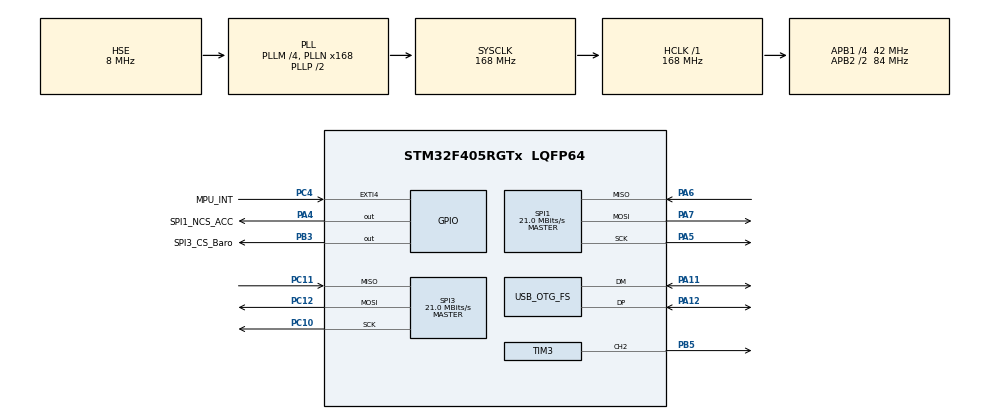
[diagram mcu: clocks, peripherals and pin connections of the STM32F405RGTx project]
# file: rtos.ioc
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Dma.Request0=SPI1_RX
Dma.Request1=SPI1_TX
Dma.SPI1_RX.0.Direction=DMA_PERIPH_TO_MEMORY
Dma.SPI1_RX.0.FIFOMode=DMA_FIFOMODE_DISABLE
Dma.SPI1_RX.0.Instance=DMA2_Stream0
Dma.SPI1_RX.0.MemDataAlignment=DMA_MDATAALIGN_BYTE
Dma.SPI1_RX.0.MemInc=DMA_MINC_ENABLE
Dma.SPI1_RX.0.Mode=DMA_NORMAL
Dma.SPI1_RX.0.PeriphDataAlignment=DMA_PDATAALIGN_BYTE
Dma.SPI1_RX.0.PeriphInc=DMA_PINC_DISABLE
Dma.SPI1_RX.0.Priority=DMA_PRIORITY_MEDIUM
Dma.SPI1_TX.1.Direction=DMA_MEMORY_TO_PERIPH
Dma.SPI1_TX.1.FIFOMode=DMA_FIFOMODE_DISABLE
Dma.SPI1_TX.1.Instance=DMA2_Stream3
Dma.SPI1_TX.1.MemDataAlignment=DMA_MDATAALIGN_BYTE
Dma.SPI1_TX.1.MemInc=DMA_MINC_ENABLE
Dma.SPI1_TX.1.Mode=DMA_NORMAL
Dma.SPI1_TX.1.PeriphDataAlignment=DMA_PDATAALIGN_BYTE
Dma.SPI1_TX.1.PeriphInc=DMA_PINC_DISABLE
Dma.SPI1_TX.1.Priority=DMA_PRIORITY_MEDIUM
Mcu.Family=STM32F4
Mcu.Name=STM32F405RGTx
Mcu.Package=LQFP64
NVIC.DMA2_Stream0_IRQn=true\:0\:0\:false\:false\:true\:false\:true
NVIC.DMA2_Stream3_IRQn=true\:0\:0\:false\:false\:true\:false\:true
NVIC.EXTI4_IRQn=true\:0\:0\:false\:false\:true\:true\:true
NVIC.OTG_FS_IRQn=true\:0\:0\:false\:false\:true\:false\:true
NVIC.PriorityGroup=NVIC_PRIORITYGROUP_4
PA11.Mode=Device_Only
PA11.Signal=USB_OTG_FS_DM
PA12.Mode=Device_Only
PA12.Signal=USB_OTG_FS_DP
PA13.Mode=Serial_Wire
PA13.Signal=SYS_JTMS-SWDIO
PA14.Mode=Serial_Wire
PA14.Signal=SYS_JTCK-SWCLK
PA4.GPIO_Label=SPI1_NCS_ACC
PA4.Signal=GPIO_Output
PA5.Mode=Full_Duplex_Master
PA5.Signal=SPI1_SCK
PA6.Mode=Full_Duplex_Master
PA6.Signal=SPI1_MISO
PA7.Mode=Full_Duplex_Master
PA7.Signal=SPI1_MOSI
PB3.GPIO_Label=SPI3_CS_Baro
PB3.Signal=GPIO_Output
PB5.Signal=S_TIM3_CH2
PC10.Mode=Full_Duplex_Master
PC10.Signal=SPI3_SCK
PC11.Mode=Full_Duplex_Master
PC11.Signal=SPI3_MISO
PC12.Mode=Full_Duplex_Master
PC12.Signal=SPI3_MOSI
PC4.GPIO_Label=MPU_INT
PC4.Signal=GPXTI4
PH0-OSC_IN.Mode=HSE-External-Oscillator
PH0-OSC_IN.Signal=RCC_OSC_IN
PH1-OSC_OUT.Mode=HSE-External-Oscillator
PH1-OSC_OUT.Signal=RCC_OSC_OUT
ProjectManager.HeapSize=0x200
ProjectManager.StackSize=0x400
ProjectManager.TargetToolchain=STM32CubeIDE
RCC.48MHZClocksFreq_Value=48000000
RCC.AHBFreq_Value=168000000
RCC.APB1CLKDivider=RCC_HCLK_DIV4
RCC.APB1Freq_Value=42000000
RCC.APB1TimFreq_Value=84000000
RCC.APB2CLKDivider=RCC_HCLK_DIV2
RCC.APB2Freq_Value=84000000
RCC.APB2TimFreq_Value=168000000
RCC.CortexFreq_Value=168000000
RCC.HCLKFreq_Value=168000000
RCC.HSE_VALUE=8000000
RCC.HSI_VALUE=16000000
RCC.LSE_VALUE=32768
RCC.PLLM=4
RCC.PLLN=168
RCC.PLLQ=7
RCC.SYSCLKFreq_VALUE=168000000
RCC.SYSCLKSource=RCC_SYSCLKSOURCE_PLLCLK
RCC.VCOOutputFreq_Value=336000000
SH.S_TIM3_CH2.0=TIM3_CH2,PWM Generation2 CH2
SPI1.BaudRatePrescaler=SPI_BAUDRATEPRESCALER_4
SPI1.CalculateBaudRate=21.0 MBits/s
SPI1.Direction=SPI_DIRECTION_2LINES
SPI1.Mode=SPI_MODE_MASTER
SPI1.VirtualType=VM_MASTER
SPI3.BaudRatePrescaler=SPI_BAUDRATEPRESCALER_2
SPI3.CalculateBaudRate=21.0 MBits/s
SPI3.Direction=SPI_DIRECTION_2LINES
SPI3.Mode=SPI_MODE_MASTER
SPI3.VirtualType=VM_MASTER
TIM3.Channel-PWM\ Generation2\ CH2=TIM_CHANNEL_2
TIM3.Period=100-1
TIM3.Prescaler=8400-1
USB_DEVICE.CLASS_NAME_FS=CDC
USB_DEVICE.VirtualMode-CDC_FS=Cdc
USB_DEVICE.VirtualModeFS=Cdc_FS
USB_OTG_FS.VirtualMode=Device_Only
VP_TIM3_VS_ClockSourceINT.Mode=Internal
VP_USB_DEVICE_VS_USB_DEVICE_CDC_FS.Mode=CDC_FS
board=custom

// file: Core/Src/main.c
/* USER CODE BEGIN Header */
/**
  ******************************************************************************
  * @file           : main.c
  * @brief          : Main program body
  ******************************************************************************
  * @attention
  *
  * <h2><center>&copy; Copyright (c) 2020 STMicroelectronics.
  * All rights reserved.</center></h2>
  *
  * This software component is licensed by ST under BSD 3-Clause license,
  * the "License"; You may not use this file except in compliance with the
  * License. You may obtain a copy of the License at:
  *                        opensource.org/licenses/BSD-3-Clause
  *
  ******************************************************************************
  */
/* USER CODE END Header */
#include "main.h"
#include "usb_device.h"

/* USER CODE BEGIN Includes */
#include "usbd_cdc_if.h"
#include "MPU6000.h"
/* USER CODE END Includes */

/* USER CODE BEGIN PM */
MPU6000 imu;
/* USER CODE END PM */

SPI_HandleTypeDef hspi1;
SPI_HandleTypeDef hspi3;
DMA_HandleTypeDef hdma_spi1_rx;
DMA_HandleTypeDef hdma_spi1_tx;

TIM_HandleTypeDef htim3;

void SystemClock_Config(void);
static void MX_GPIO_Init(void);
static void MX_DMA_Init(void);
static void MX_TIM3_Init(void);
static void MX_SPI1_Init(void);
static void MX_SPI3_Init(void);

/* USER CODE BEGIN 0 */
void HAL_GPIO_EXTI_Callback(uint16_t GPIO_Pin) {

	if (GPIO_Pin == MPU_INT_Pin) {

		MPU6000_ReadDataDMA(&imu);

	}

}

void HAL_SPI_TxRxCpltCallback(SPI_HandleTypeDef *hspi) {

	if (hspi->Instance == SPI1) {

		if (imu.readingAcc) {

			MPU6000_ReadDataDMA_Complete(&imu);
		}

	}

}
/* USER CODE END 0 */

int main(void)
{

  /* MCU Configuration--------------------------------------------------------*/

  /* Reset of all peripherals, Initializes the Flash interface and the Systick. */
  HAL_Init();

  /* Configure the system clock */
  SystemClock_Config();

  /* Initialize all configured peripherals */
  MX_GPIO_Init();
  MX_DMA_Init();
  MX_USB_DEVICE_Init();
  MX_TIM3_Init();
  MX_SPI1_Init();
  MX_SPI3_Init();
  /* USER CODE BEGIN 2 */
  MPU6000_Init(&imu, &hspi1, GPIOA, SPI1_NCS_ACC_Pin);

  /* USER CODE END 2 */

  /* Infinite loop */
  /* USER CODE BEGIN WHILE */
  char TxBuf[80];

  HAL_TIM_PWM_Start(&htim3, TIM_CHANNEL_2);
  uint8_t intensity = 0;

  while (1)
  {
    /* USER CODE END WHILE */

    /* USER CODE BEGIN 3 */

	htim3.Instance->CCR2 = 100 - intensity;

	intensity += 5;

	if(intensity > 100)
	{
		intensity = 0;
	}

	//MPU6000_ReadAccelerometer(&imu);
	//MPU6000_ReadGyroscope(&imu);
	//MPU6000_ReadTemperature(&imu);

	sprintf(TxBuf, "%.2f,%.2f,%.2f,%.2f,%.2f,%.2f,%.2f\n", imu.acc_mps2[0],imu.acc_mps2[1],imu.acc_mps2[2],imu.gyr_rps[0],imu.gyr_rps[1],imu.gyr_rps[2],imu.imu_temp);
	CDC_Transmit_FS((uint8_t *) TxBuf, strlen(TxBuf));

	HAL_Delay(100);
  }
  /* USER CODE END 3 */
}

void SystemClock_Config(void)
{
  RCC_OscInitTypeDef RCC_OscInitStruct = {0};
  RCC_ClkInitTypeDef RCC_ClkInitStruct = {0};

  /** Configure the main internal regulator output voltage
  */
  __HAL_RCC_PWR_CLK_ENABLE();
  __HAL_PWR_VOLTAGESCALING_CONFIG(PWR_REGULATOR_VOLTAGE_SCALE1);
  /** Initializes the RCC Oscillators according to the specified parameters
  * in the RCC_OscInitTypeDef structure.
  */
  RCC_OscInitStruct.OscillatorType = RCC_OSCILLATORTYPE_HSE;
  RCC_OscInitStruct.HSEState = RCC_HSE_ON;
  RCC_OscInitStruct.PLL.PLLState = RCC_PLL_ON;
  RCC_OscInitStruct.PLL.PLLSource = RCC_PLLSOURCE_HSE;
  RCC_OscInitStruct.PLL.PLLM = 4;
  RCC_OscInitStruct.PLL.PLLN = 168;
  RCC_OscInitStruct.PLL.PLLP = RCC_PLLP_DIV2;
  RCC_OscInitStruct.PLL.PLLQ = 7;
  if (HAL_RCC_OscConfig(&RCC_OscInitStruct) != HAL_OK)
  {
    Error_Handler();
  }
  /** Initializes the CPU, AHB and APB buses clocks
  */
  RCC_ClkInitStruct.ClockType = RCC_CLOCKTYPE_HCLK|RCC_CLOCKTYPE_SYSCLK
                              |RCC_CLOCKTYPE_PCLK1|RCC_CLOCKTYPE_PCLK2;
  RCC_ClkInitStruct.SYSCLKSource = RCC_SYSCLKSOURCE_PLLCLK;
  RCC_ClkInitStruct.AHBCLKDivider = RCC_SYSCLK_DIV1;
  RCC_ClkInitStruct.APB1CLKDivider = RCC_HCLK_DIV4;
  RCC_ClkInitStruct.APB2CLKDivider = RCC_HCLK_DIV2;

  if (HAL_RCC_ClockConfig(&RCC_ClkInitStruct, FLASH_LATENCY_5) != HAL_OK)
  {
    Error_Handler();
  }
}

static void MX_SPI1_Init(void)
{

  /* SPI1 parameter configuration*/
  hspi1.Instance = SPI1;
  hspi1.Init.Mode = SPI_MODE_MASTER;
  hspi1.Init.Direction = SPI_DIRECTION_2LINES;
  hspi1.Init.DataSize = SPI_DATASIZE_8BIT;
  hspi1.Init.CLKPolarity = SPI_POLARITY_LOW;
  hspi1.Init.CLKPhase = SPI_PHASE_1EDGE;
  hspi1.Init.NSS = SPI_NSS_SOFT;
  hspi1.Init.BaudRatePrescaler = SPI_BAUDRATEPRESCALER_4;
  hspi1.Init.FirstBit = SPI_FIRSTBIT_MSB;
  hspi1.Init.TIMode = SPI_TIMODE_DISABLE;
  hspi1.Init.CRCCalculation = SPI_CRCCALCULATION_DISABLE;
  hspi1.Init.CRCPolynomial = 10;
  if (HAL_SPI_Init(&hspi1) != HAL_OK)
  {
    Error_Handler();
  }

}

static void MX_SPI3_Init(void)
{

  /* SPI3 parameter configuration*/
  hspi3.Instance = SPI3;
  hspi3.Init.Mode = SPI_MODE_MASTER;
  hspi3.Init.Direction = SPI_DIRECTION_2LINES;
  hspi3.Init.DataSize = SPI_DATASIZE_8BIT;
  hspi3.Init.CLKPolarity = SPI_POLARITY_LOW;
  hspi3.Init.CLKPhase = SPI_PHASE_1EDGE;
  hspi3.Init.NSS = SPI_NSS_SOFT;
  hspi3.Init.BaudRatePrescaler = SPI_BAUDRATEPRESCALER_2;
  hspi3.Init.FirstBit = SPI_FIRSTBIT_MSB;
  hspi3.Init.TIMode = SPI_TIMODE_DISABLE;
  hspi3.Init.CRCCalculation = SPI_CRCCALCULATION_DISABLE;
  hspi3.Init.CRCPolynomial = 10;
  if (HAL_SPI_Init(&hspi3) != HAL_OK)
  {
    Error_Handler();
  }

}

static void MX_TIM3_Init(void)
{

  TIM_ClockConfigTypeDef sClockSourceConfig = {0};
  TIM_MasterConfigTypeDef sMasterConfig = {0};
  TIM_OC_InitTypeDef sConfigOC = {0};

  htim3.Instance = TIM3;
  htim3.Init.Prescaler = 8400-1;
  htim3.Init.CounterMode = TIM_COUNTERMODE_UP;
  htim3.Init.Period = 100-1;
  htim3.Init.ClockDivision = TIM_CLOCKDIVISION_DIV1;
  htim3.Init.AutoReloadPreload = TIM_AUTORELOAD_PRELOAD_DISABLE;
  if (HAL_TIM_Base_Init(&htim3) != HAL_OK)
  {
    Error_Handler();
  }
  sClockSourceConfig.ClockSource = TIM_CLOCKSOURCE_INTERNAL;
  if (HAL_TIM_ConfigClockSource(&htim3, &sClockSourceConfig) != HAL_OK)
  {
    Error_Handler();
  }
  if (HAL_TIM_PWM_Init(&htim3) != HAL_OK)
  {
    Error_Handler();
  }
  sMasterConfig.MasterOutputTrigger = TIM_TRGO_RESET;
  sMasterConfig.MasterSlaveMode = TIM_MASTERSLAVEMODE_DISABLE;
  if (HAL_TIMEx_MasterConfigSynchronization(&htim3, &sMasterConfig) != HAL_OK)
  {
    Error_Handler();
  }
  sConfigOC.OCMode = TIM_OCMODE_PWM1;
  sConfigOC.Pulse = 0;
  sConfigOC.OCPolarity = TIM_OCPOLARITY_HIGH;
  sConfigOC.OCFastMode = TIM_OCFAST_DISABLE;
  if (HAL_TIM_PWM_ConfigChannel(&htim3, &sConfigOC, TIM_CHANNEL_2) != HAL_OK)
  {
    Error_Handler();
  }
  HAL_TIM_MspPostInit(&htim3);

}

static void MX_DMA_Init(void)
{

  /* DMA controller clock enable */
  __HAL_RCC_DMA2_CLK_ENABLE();

  /* DMA interrupt init */
  /* DMA2_Stream0_IRQn interrupt configuration */
  HAL_NVIC_SetPriority(DMA2_Stream0_IRQn, 0, 0);
  HAL_NVIC_EnableIRQ(DMA2_Stream0_IRQn);
  /* DMA2_Stream3_IRQn interrupt configuration */
  HAL_NVIC_SetPriority(DMA2_Stream3_IRQn, 0, 0);
  HAL_NVIC_EnableIRQ(DMA2_Stream3_IRQn);

}

static void MX_GPIO_Init(void)
{
  GPIO_InitTypeDef GPIO_InitStruct = {0};

  /* GPIO Ports Clock Enable */
  __HAL_RCC_GPIOH_CLK_ENABLE();
  __HAL_RCC_GPIOA_CLK_ENABLE();
  __HAL_RCC_GPIOC_CLK_ENABLE();
  __HAL_RCC_GPIOB_CLK_ENABLE();

  /*Configure GPIO pin Output Level */
  HAL_GPIO_WritePin(SPI1_NCS_ACC_GPIO_Port, SPI1_NCS_ACC_Pin, GPIO_PIN_RESET);

  /*Configure GPIO pin Output Level */
  HAL_GPIO_WritePin(SPI3_CS_Baro_GPIO_Port, SPI3_CS_Baro_Pin, GPIO_PIN_RESET);

  /*Configure GPIO pin : SPI1_NCS_ACC_Pin */
  GPIO_InitStruct.Pin = SPI1_NCS_ACC_Pin;
  GPIO_InitStruct.Mode = GPIO_MODE_OUTPUT_PP;
  GPIO_InitStruct.Pull = GPIO_NOPULL;
  GPIO_InitStruct.Speed = GPIO_SPEED_FREQ_LOW;
  HAL_GPIO_Init(SPI1_NCS_ACC_GPIO_Port, &GPIO_InitStruct);

  /*Configure GPIO pin : MPU_INT_Pin */
  GPIO_InitStruct.Pin = MPU_INT_Pin;
  GPIO_InitStruct.Mode = GPIO_MODE_IT_RISING;
  GPIO_InitStruct.Pull = GPIO_NOPULL;
  HAL_GPIO_Init(MPU_INT_GPIO_Port, &GPIO_InitStruct);

  /*Configure GPIO pin : SPI3_CS_Baro_Pin */
  GPIO_InitStruct.Pin = SPI3_CS_Baro_Pin;
  GPIO_InitStruct.Mode = GPIO_MODE_OUTPUT_PP;
  GPIO_InitStruct.Pull = GPIO_NOPULL;
  GPIO_InitStruct.Speed = GPIO_SPEED_FREQ_LOW;
  HAL_GPIO_Init(SPI3_CS_Baro_GPIO_Port, &GPIO_InitStruct);

  /* EXTI interrupt init*/
  HAL_NVIC_SetPriority(EXTI4_IRQn, 0, 0);
  HAL_NVIC_EnableIRQ(EXTI4_IRQn);

}

void Error_Handler(void)
{
  __disable_irq();
  while (1)
  {
  }
}

/************************ (C) COPYRIGHT STMicroelectronics *****END OF FILE****/
